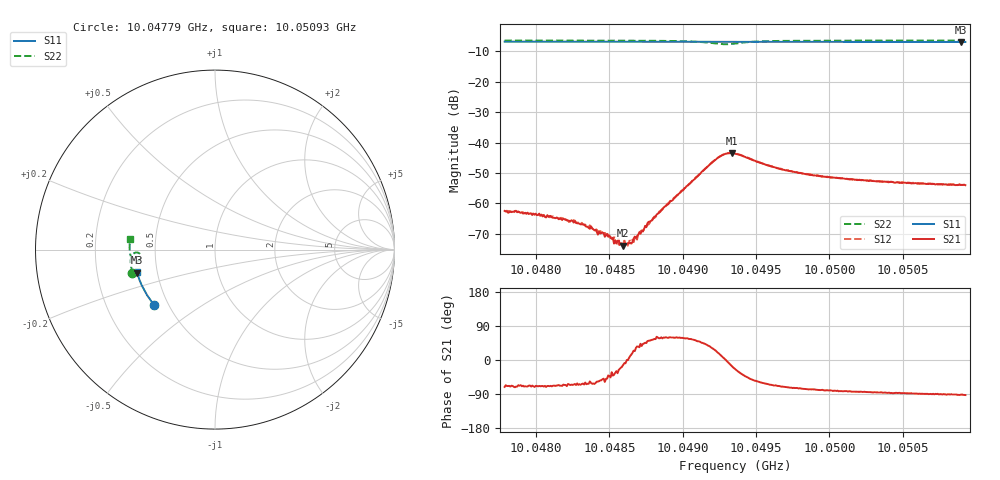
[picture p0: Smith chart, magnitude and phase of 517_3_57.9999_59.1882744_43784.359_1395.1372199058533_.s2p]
#  HZ  S  RI  R  50.00
! Rohde & Schwarz Vector Network Analyzer
! Rohde-Schwarz,ZNB20-2Port,1311601062101988,3.16
! Created: UTC 3/21/2024, 1:13:26 AM
! freq[Hz]  re:S11  im:S11  re:S21  im:S21  re:S12  im:S12  re:S22  im:S22
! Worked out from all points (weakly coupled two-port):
!   401 points, 10.04779 GHz to 10.05093 GHz, reference 50 ohm
!   highest |S21| = -43.47 dB at 10.04933 GHz (marker M1); lowest = -74.0 dB at 10.04859 GHz (marker M2)
!   lowest |S11| = -6.9 dB at 10.0509 GHz (marker M3), VSWR 2.65, Z = 19.2 - j6.2 ohm
!   |S11| at or under -10 dB: nowhere
!   |S22| runs from -7.7 to -6.4 dB; largest |S21 - S12| = 0.00048
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1.0047785e10  -0.3393 -0.3072  0.000244 -0.000708  0.000334 -0.000667  -0.4597 -0.1322
1.004788e10  -0.3431 -0.3022  0.000291 -0.000667  0.000312 -0.000655  -0.4611 -0.1259
1.0048092e10  -0.3521 -0.2915  0.000219 -0.000575  0.00027 -0.000523  -0.4645 -0.1114
1.0048257e10  -0.3585 -0.2829  0.000207 -0.000433  0.000264 -0.000454  -0.4667 -0.0999
1.0048312e10  -0.3607 -0.28  0.000203 -0.000404  0.000228 -0.000419  -0.4672 -0.0958
1.0048484e10  -0.3671 -0.2706  0.000206 -0.000237  0.000202 -0.000211  -0.4688 -0.0828
1.0048539e10  -0.3693 -0.2677  0.000205 -0.000137  0.000237 -0.000133  -0.4692 -0.0786
1.0048563e10  -0.3703 -0.2665  0.000229 -0.000114  0.000198 -6.49e-05  -0.4692 -0.0768
1.0048594e10  -0.3714 -0.2648  0.000195 -4.37e-05  0.000217 -2.18e-05  -0.4695 -0.0741
1.004861e10  -0.3718 -0.2639  0.000203 -3.11e-05  0.000214 -1.64e-05  -0.4696 -0.0729
1.0048641e10  -0.3731 -0.2621  0.000218 4.08e-05  0.000248 5.98e-05  -0.4696 -0.0703
1.0048673e10  -0.3742 -0.2604  0.000259 0.000113  0.000245 0.000123  -0.4695 -0.0675
1.0048838e10  -0.38 -0.2511  0.000376 0.000589  0.000364 0.000624  -0.4688 -0.0526
1.0049207e10  -0.392 -0.2301  0.0042 0.0024  0.00406 0.00268  -0.4311 -0.0164
1.004927e10  -0.3937 -0.2265  0.00614 0.000951  0.00606 0.00134  -0.4149 -0.029
1.0049333e10  -0.3955 -0.2232  0.00646 -0.00178  0.00658 -0.00139  -0.4157 -0.0517
1.0049356e10  -0.3963 -0.2219  0.00601 -0.00266  0.00622 -0.00223  -0.4212 -0.058
1.0049639e10  -0.405 -0.2055  0.00146 -0.00351  0.00165 -0.00347  -0.4673 -0.042
1.0049882e10  -0.4117 -0.1909  0.000634 -0.00283  0.000811 -0.00282  -0.4739 -0.0181
1.0050409e10  -0.4242 -0.1588  0.000139 -0.00222  0.000246 -0.00223  -0.4755 0.0229
1.0050895e10  -0.4335 -0.1285  -5.14e-05 -0.00201  6.18e-05 -0.002  -0.4726 0.0566
1.0050927e10  -0.4343 -0.1262  -8.49e-05 -0.00198  2.31e-05 -0.00201  -0.4724 0.0588
